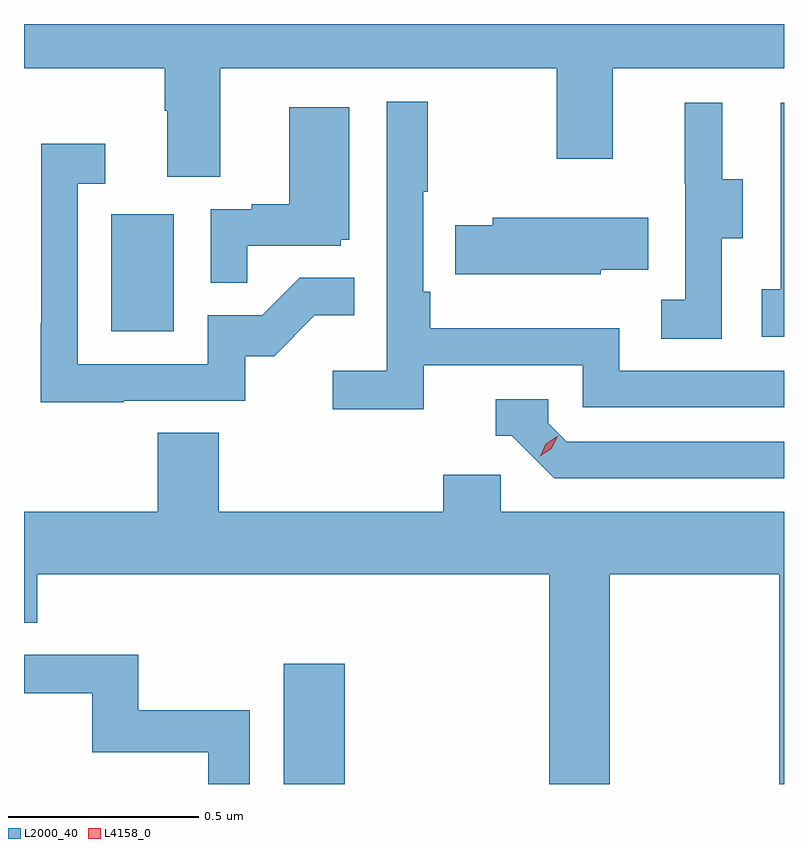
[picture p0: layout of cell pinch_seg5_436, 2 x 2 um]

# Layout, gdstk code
import gdstk
lib = gdstk.Library(unit=1e-6, precision=1e-09)
def R(c, l, rs):  # rectangles x0, y0, x1, y1
    for r in rs: c.add(gdstk.rectangle(r[:2], r[2:], *l))
def P(c, l, *ps):  # polygons
    for p in ps: c.add(gdstk.Polygon(p, *l))
L2000_40 = (2000, 40)
L4158_0 = (4158, 0)

pinch_seg5_436 = lib.new_cell('pinch_seg5_436')
R(pinch_seg5_436, L2000_40, [(983.177,862.868,983.338,863.185), (982.724,864.06,982.888,864.367)])
P(pinch_seg5_436, L2000_40, [(983.011,864.752),(983.896,864.752),(983.896,864.513),(984.043,864.513),(984.043,864.752),(984.494,864.752),(984.494,864.868),(982.494,864.868),(982.494,864.752),(982.864,864.752),(982.864,864.64),(982.871,864.64),(982.871,864.466),(983.011,864.466)],
  [(983.546,863.97),(983.964,863.97),(983.964,863.859),(984.494,863.859),(984.494,863.955),(984.06,863.955),(984.06,864.067),(983.563,864.067),(983.563,864.163),(983.544,864.163),(983.544,864.427),(983.557,864.427),(983.557,864.664),(983.448,864.664),(983.448,863.956),(983.307,863.956),(983.307,863.854),(983.546,863.854)],
  [(984.494,864.661),(984.486,864.661),(984.486,864.17),(984.435,864.17),(984.435,864.045),(984.494,864.045)],
  [(984.33,864.304),(984.385,864.304),(984.385,864.459),(984.331,864.459),(984.331,864.661),(984.233,864.661),(984.233,864.447),(984.234,864.447),(984.234,864.143),(984.171,864.143),(984.171,864.04),(984.33,864.04)],
  [(983.081,864.285),(983.328,864.285),(983.328,864.3),(983.35,864.3),(983.35,864.649),(983.192,864.649),(983.192,864.394),(983.093,864.394),(983.093,864.381),(982.986,864.381),(982.986,864.187),(983.081,864.187)],
  [(982.757,863.877),(983.076,863.877),(983.076,863.994),(983.152,863.994),(983.259,864.101),(983.363,864.101),(983.363,864.2),(983.219,864.2),(983.121,864.102),(982.977,864.102),(982.977,863.973),(982.635,863.973),(982.635,864.447),(982.708,864.447),(982.708,864.553),(982.539,864.553),(982.539,864.08),(982.538,864.08),(982.538,863.872),(982.757,863.872)],
  [(984.012,864.221),(984.137,864.221),(984.137,864.358),(983.727,864.358),(983.727,864.339),(983.629,864.339),(983.629,864.209),(984.012,864.209)],
  [(984.494,863.769),(983.922,863.769),(983.874,863.817),(983.874,863.88),(983.735,863.88),(983.735,863.784),(983.778,863.784),(983.889,863.673),(984.494,863.673)],
  [(984.036,863.42),(984.481,863.42),(984.481,862.868),(984.494,862.868),(984.494,863.584),(983.748,863.584),(983.748,863.682),(983.597,863.682),(983.597,863.584),(983.006,863.584),(983.006,863.792),(982.846,863.792),(982.846,863.584),(982.494,863.584),(982.494,863.293),(982.529,863.293),(982.529,863.42),(983.876,863.42),(983.876,862.868),(984.036,862.868)],
  [(983.088,863.062),(982.795,863.062),(982.795,863.208),(982.494,863.208),(982.494,863.107),(982.674,863.107),(982.674,862.952),(982.979,862.952),(982.979,862.868),(983.088,862.868)])
P(pinch_seg5_436, L4158_0, [(983.852,863.73),(983.852,863.731),(983.867,863.763),(983.897,863.783),(983.898,863.783),(983.898,863.783),(983.882,863.75),(983.852,863.73)])

lib.write_gds('pinch_seg5_436.gds')
